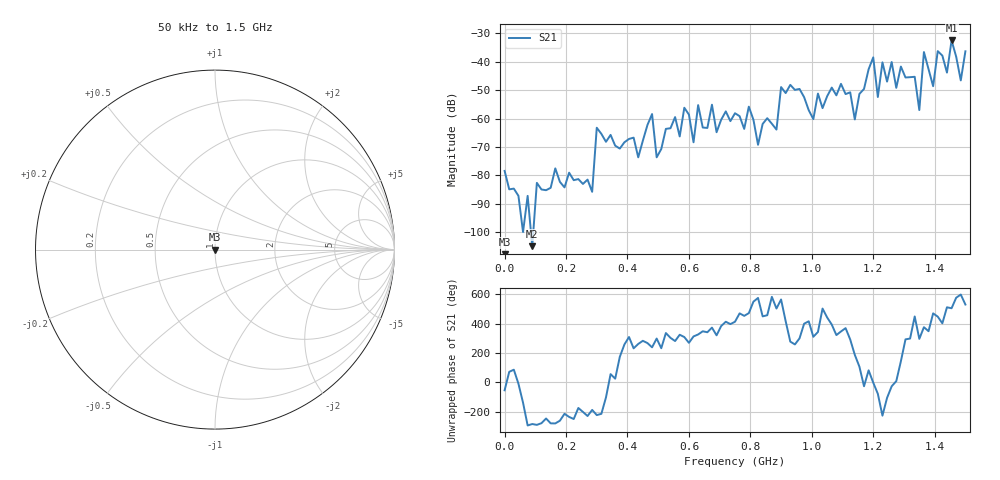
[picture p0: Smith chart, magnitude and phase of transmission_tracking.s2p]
! Created with skrf 1.8.0 (http://scikit-rf.org).
# Hz S RI R 50.0
!freq ReS11 ImS11 ReS21 ImS21 ReS12 ImS12 ReS22 ImS22
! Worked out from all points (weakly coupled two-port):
!   101 points, 50 kHz to 1.5 GHz, reference 50 ohm
!   highest |S21| = -32.49 dB at 1.455 GHz (marker M1); lowest = -104.9 dB at 90.05 MHz (marker M2)
!   lowest |S11| = - dB at 50 kHz (marker M3), VSWR 1.00, Z = 50 + j0 ohm
!   |S11| at or under -10 dB: start of sweep to end of sweep
!   S12 and S22 are empty: the file has one direction only
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50000  0 0  7.16e-05 -9.64e-05  0 0  0 0
9.0047e7  0 0  1.26e-06 5.54e-06  0 0  0 0
2.550415e8  0 0  -6.63e-05 2.47e-05  0 0  0 0
2.850405e8  0 0  -5.11e-05 6.04e-06  0 0  0 0
3.0004e8  0 0  -0.000513 0.000461  0 0  0 0
4.350355e8  0 0  -2.97e-05 -0.000206  0 0  0 0
4.80034e8  0 0  -0.000623 -0.00103  0 0  0 0
5.10033e8  0 0  -0.000177 -0.000232  0 0  0 0
7.50025e8  0 0  0.000751 0.00099  0 0  0 0
8.250225e8  0 0  -0.000285 -0.000196  0 0  0 0
9.30019e8  0 0  0.000517 -0.00389  0 0  0 0
1.005016e9  0 0  0.000636 -0.000744  0 0  0 0
1.095014e9  0 0  0.00398 -0.000938  0 0  0 0
1.140012e9  0 0  -0.000957 -0.000132  0 0  0 0
1.20001e9  0 0  0.012 -0.000278  0 0  0 0
1.260008e9  0 0  0.00889 -0.00437  0 0  0 0
1.350005e9  0 0  0.000627 -0.00127  0 0  0 0
1.365004e9  0 0  0.0143 0.00402  0 0  0 0
1.395004e9  0 0  -0.00124 0.0035  0 0  0 0
1.455002e9  0 0  -0.0193 0.0138  0 0  0 0
1.485e9  0 0  -0.00251 -0.00397  0 0  0 0
1.5e9  0 0  -0.0151 0.00269  0 0  0 0
